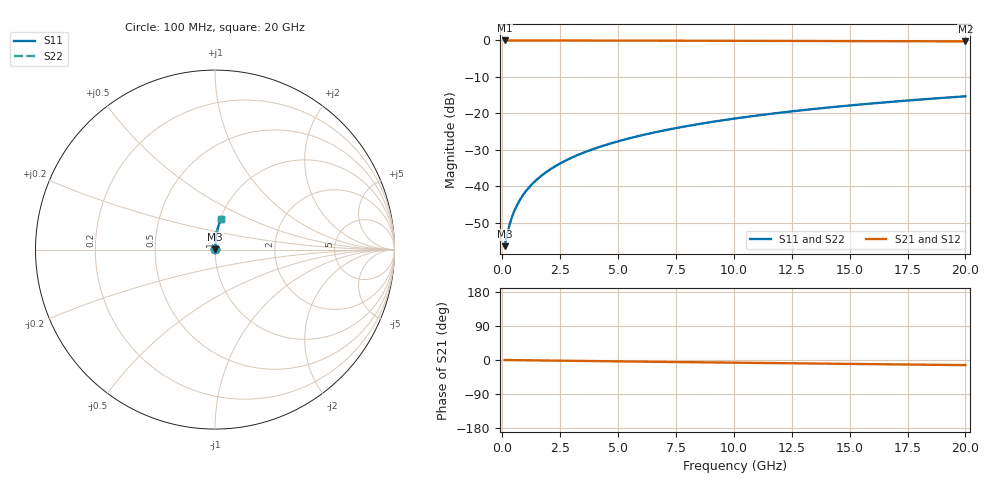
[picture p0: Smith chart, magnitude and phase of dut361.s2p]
! Touchstone file exported from HFSS 2024.1.0
!  File:  C:/UserFiles/LocalFiles/RDL_TSV_Batchsim/temp_RDL_top_361_1779608561.aedt
!  Generated:  03:45:02 PM May 24, 2026
!  Design:  RDL_top
!  Project:  temp_RDL_top_361_1779608561
!  Setup:  Setup1
!  Solution:  Sweep
! Variables:
!  dtsv = 10.80580581um
!  hbump = 3um
!  htsv = 86.85um
!  ldown = 100um
!  lrdl = 141.61um
!  p = 40
!  p1 = 47.5um
!  rhole = 1um
!  t = 450um
!  tdown = 3.915915916um
!  trdl = 3.09um
!  wdown = 15.38538539um
!  wrdl = 16.07um
# GHz S MA R 50.000000
! Terminal data exported
! Port[1] = Box2_T1
! Port[2] = Box2_T2
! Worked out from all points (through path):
!   200 points, 100 MHz to 20 GHz, reference 50 ohm
!   highest |S21| = -0.01 dB at 100 MHz (marker M1); lowest = -0.3 dB at 20 GHz (marker M2)
!   group delay of S21, straight-line fit = 1.87 ps
!   lowest |S11| = -56.5 dB at 100 MHz (marker M3), VSWR 1.00, Z = 50.1 + j0.0861 ohm
!   |S11| at or under -10 dB: start of sweep to end of sweep
!   |S22| runs from -56.5 to -15.3 dB; largest |S21 - S12| = 5e-15
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0.1  0.001501 34.9  0.9988 -0.1  0.9988 -0.1  0.001501 34.9
! Gamma 0 0 0 0
! Port Impedance 50 0 50 0
0.2  0.00212 53.7  0.9987 -0.2  0.9987 -0.2  0.00212 53.7
0.3  0.002855 63.3  0.9987 -0.2  0.9987 -0.2  0.002855 63.3
0.4  0.003626 68.7  0.9987 -0.3  0.9987 -0.3  0.003626 68.7
0.5  0.004409 72.2  0.9986 -0.4  0.9986 -0.4  0.004409 72.2
0.6  0.005197 74.7  0.9986 -0.5  0.9986 -0.5  0.005197 74.7
0.8  0.00678 77.9  0.9985 -0.6  0.9985 -0.6  0.00678 77.9
1.1  0.009169 80.8  0.9984 -0.8  0.9984 -0.8  0.009169 80.8
1.5  0.01238 83.0  0.9982 -1.1  0.9982 -1.1  0.01238 83.0
1.8  0.0148 84.0  0.998 -1.3  0.998 -1.3  0.0148 84.0
2.1  0.01724 84.7  0.9979 -1.6  0.9979 -1.6  0.01724 84.7
2.7  0.02214 85.6  0.9974 -2.0  0.9974 -2.0  0.02214 85.6
3.5  0.02873 86.3  0.9967 -2.6  0.9967 -2.6  0.02873 86.3
4.2  0.03455 86.6  0.996 -3.1  0.996 -3.1  0.03455 86.6
5  0.04127 86.7  0.9951 -3.6  0.9951 -3.6  0.04127 86.7
5.9  0.0489 86.6  0.9939 -4.3  0.9939 -4.3  0.0489 86.6
6.8  0.0566 86.4  0.9927 -4.9  0.9927 -4.9  0.0566 86.4
8.3  0.06956 85.9  0.9904 -5.9  0.9904 -5.9  0.06956 85.9
10.1  0.08525 85.0  0.9875 -7.1  0.9875 -7.1  0.08525 85.0
13.4  0.1141 83.1  0.982 -9.3  0.982 -9.3  0.1141 83.1
16.7  0.1428 80.9  0.9762 -11.4  0.9762 -11.4  0.1428 80.9
20  0.171 78.7  0.9701 -13.5  0.9701 -13.5  0.171 78.7
